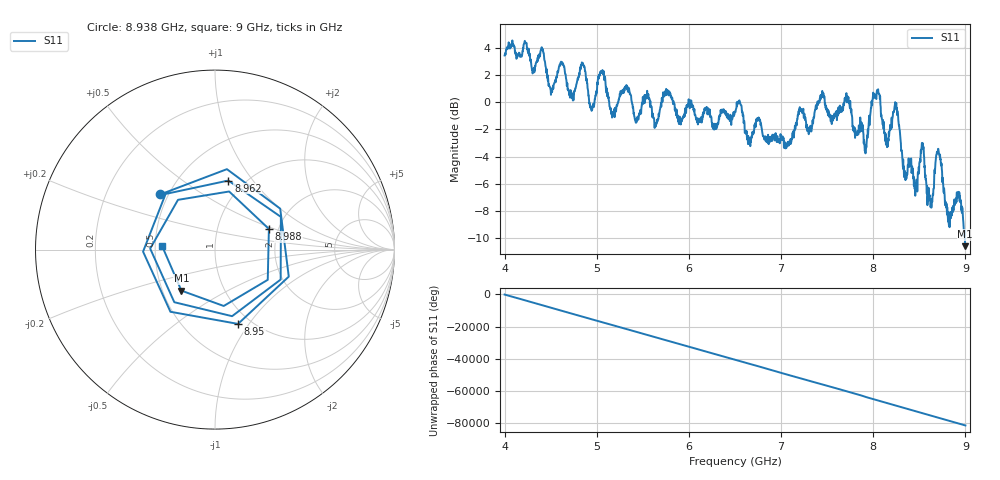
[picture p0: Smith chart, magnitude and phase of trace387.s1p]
! Created with skrf 1.8.0 (http://scikit-rf.org).
# Hz S RI R 50.0
!freq ReS11 ImS11
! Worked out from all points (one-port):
!   1601 points, 4 GHz to 9 GHz, reference 50 ohm
!   lowest |S11| = -10.6 dB at 8.997 GHz (marker M1), VSWR 1.84, Z = 31.2 - j15.6 ohm
!   |S11| at or under -10 dB: 8.99421 GHz to end of sweep
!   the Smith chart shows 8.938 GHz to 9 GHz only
!   S11 on the Smith chart (normalised r, x): 8.938 GHz: 0.45, +0.34; 8.95 GHz: 0.87, -0.89; 8.962 GHz: 0.84, +0.77; 8.988 GHz: 1.78, +0.46; 9 GHz: 0.54, +0.02
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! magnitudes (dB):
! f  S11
! 4 GHz  3.5
! 4.403 GHz  4.1
! 4.503 GHz  0.6
! 4.625 GHz  2.9
! 4.725 GHz  0.3
! 4.853 GHz  2.7
! 4.944 GHz  -0.6
! 5.053 GHz  2.3
! 5.25 GHz  0.6
! 5.875 GHz  -1.2
! 6.5 GHz  -0.7
! 7.125 GHz  -2.2
! 7.75 GHz  0.1
! 7.919 GHz  -3.2
! 8.025 GHz  0.4
! 8.144 GHz  -2.6
! 8.244 GHz  -0.1
! 8.375 GHz  -4.6
! 8.534 GHz  -3.2
! 8.622 GHz  -7.7
! 8.706 GHz  -3.4
! 8.812 GHz  -8.8
! 8.938 GHz  -7.3
! 8.95 GHz  -7.3
! 8.962 GHz  -8.1
! 8.988 GHz  -9.9
! 8.997 GHz  -10.6
! 9 GHz  -10.6
